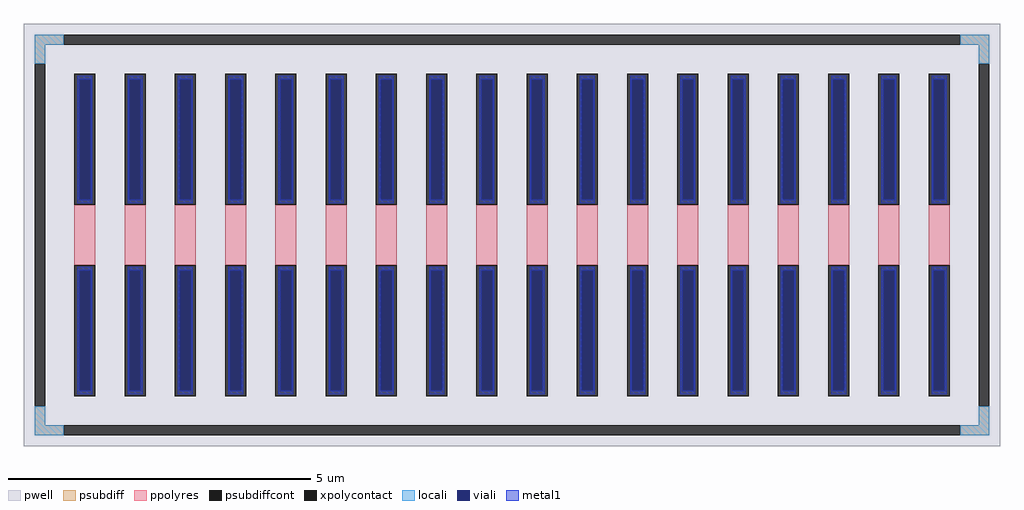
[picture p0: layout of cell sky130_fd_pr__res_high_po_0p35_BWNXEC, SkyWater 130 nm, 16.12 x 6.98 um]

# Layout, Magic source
magic
tech sky130A
magscale 1 2
<< pwell >>
rect -1612 -698 1612 698
<< psubdiff >>
rect -1576 628 -1480 662
rect 1480 628 1576 662
rect -1576 566 -1542 628
rect 1542 566 1576 628
rect -1576 -628 -1542 -566
rect 1542 -628 1576 -566
rect -1576 -662 -1480 -628
rect 1480 -662 1576 -628
<< psubdiffcont >>
rect -1480 628 1480 662
rect -1576 -566 -1542 566
rect 1542 -566 1576 566
rect -1480 -662 1480 -628
<< xpolycontact >>
rect -1446 100 -1376 532
rect -1446 -532 -1376 -100
rect -1280 100 -1210 532
rect -1280 -532 -1210 -100
rect -1114 100 -1044 532
rect -1114 -532 -1044 -100
rect -948 100 -878 532
rect -948 -532 -878 -100
rect -782 100 -712 532
rect -782 -532 -712 -100
rect -616 100 -546 532
rect -616 -532 -546 -100
rect -450 100 -380 532
rect -450 -532 -380 -100
rect -284 100 -214 532
rect -284 -532 -214 -100
rect -118 100 -48 532
rect -118 -532 -48 -100
rect 48 100 118 532
rect 48 -532 118 -100
rect 214 100 284 532
rect 214 -532 284 -100
rect 380 100 450 532
rect 380 -532 450 -100
rect 546 100 616 532
rect 546 -532 616 -100
rect 712 100 782 532
rect 712 -532 782 -100
rect 878 100 948 532
rect 878 -532 948 -100
rect 1044 100 1114 532
rect 1044 -532 1114 -100
rect 1210 100 1280 532
rect 1210 -532 1280 -100
rect 1376 100 1446 532
rect 1376 -532 1446 -100
<< ppolyres >>
rect -1446 -100 -1376 100
rect -1280 -100 -1210 100
rect -1114 -100 -1044 100
rect -948 -100 -878 100
rect -782 -100 -712 100
rect -616 -100 -546 100
rect -450 -100 -380 100
rect -284 -100 -214 100
rect -118 -100 -48 100
rect 48 -100 118 100
rect 214 -100 284 100
rect 380 -100 450 100
rect 546 -100 616 100
rect 712 -100 782 100
rect 878 -100 948 100
rect 1044 -100 1114 100
rect 1210 -100 1280 100
rect 1376 -100 1446 100
<< locali >>
rect -1576 628 -1480 662
rect 1480 628 1576 662
rect -1576 566 -1542 628
rect 1542 566 1576 628
rect -1576 -628 -1542 -566
rect 1542 -628 1576 -566
rect -1576 -662 -1480 -628
rect 1480 -662 1576 -628
<< viali >>
rect -1430 117 -1392 514
rect -1264 117 -1226 514
rect -1098 117 -1060 514
rect -932 117 -894 514
rect -766 117 -728 514
rect -600 117 -562 514
rect -434 117 -396 514
rect -268 117 -230 514
rect -102 117 -64 514
rect 64 117 102 514
rect 230 117 268 514
rect 396 117 434 514
rect 562 117 600 514
rect 728 117 766 514
rect 894 117 932 514
rect 1060 117 1098 514
rect 1226 117 1264 514
rect 1392 117 1430 514
rect -1430 -514 -1392 -117
rect -1264 -514 -1226 -117
rect -1098 -514 -1060 -117
rect -932 -514 -894 -117
rect -766 -514 -728 -117
rect -600 -514 -562 -117
rect -434 -514 -396 -117
rect -268 -514 -230 -117
rect -102 -514 -64 -117
rect 64 -514 102 -117
rect 230 -514 268 -117
rect 396 -514 434 -117
rect 562 -514 600 -117
rect 728 -514 766 -117
rect 894 -514 932 -117
rect 1060 -514 1098 -117
rect 1226 -514 1264 -117
rect 1392 -514 1430 -117
<< metal1 >>
rect -1436 514 -1386 526
rect -1436 117 -1430 514
rect -1392 117 -1386 514
rect -1436 105 -1386 117
rect -1270 514 -1220 526
rect -1270 117 -1264 514
rect -1226 117 -1220 514
rect -1270 105 -1220 117
rect -1104 514 -1054 526
rect -1104 117 -1098 514
rect -1060 117 -1054 514
rect -1104 105 -1054 117
rect -938 514 -888 526
rect -938 117 -932 514
rect -894 117 -888 514
rect -938 105 -888 117
rect -772 514 -722 526
rect -772 117 -766 514
rect -728 117 -722 514
rect -772 105 -722 117
rect -606 514 -556 526
rect -606 117 -600 514
rect -562 117 -556 514
rect -606 105 -556 117
rect -440 514 -390 526
rect -440 117 -434 514
rect -396 117 -390 514
rect -440 105 -390 117
rect -274 514 -224 526
rect -274 117 -268 514
rect -230 117 -224 514
rect -274 105 -224 117
rect -108 514 -58 526
rect -108 117 -102 514
rect -64 117 -58 514
rect -108 105 -58 117
rect 58 514 108 526
rect 58 117 64 514
rect 102 117 108 514
rect 58 105 108 117
rect 224 514 274 526
rect 224 117 230 514
rect 268 117 274 514
rect 224 105 274 117
rect 390 514 440 526
rect 390 117 396 514
rect 434 117 440 514
rect 390 105 440 117
rect 556 514 606 526
rect 556 117 562 514
rect 600 117 606 514
rect 556 105 606 117
rect 722 514 772 526
rect 722 117 728 514
rect 766 117 772 514
rect 722 105 772 117
rect 888 514 938 526
rect 888 117 894 514
rect 932 117 938 514
rect 888 105 938 117
rect 1054 514 1104 526
rect 1054 117 1060 514
rect 1098 117 1104 514
rect 1054 105 1104 117
rect 1220 514 1270 526
rect 1220 117 1226 514
rect 1264 117 1270 514
rect 1220 105 1270 117
rect 1386 514 1436 526
rect 1386 117 1392 514
rect 1430 117 1436 514
rect 1386 105 1436 117
rect -1436 -117 -1386 -105
rect -1436 -514 -1430 -117
rect -1392 -514 -1386 -117
rect -1436 -526 -1386 -514
rect -1270 -117 -1220 -105
rect -1270 -514 -1264 -117
rect -1226 -514 -1220 -117
rect -1270 -526 -1220 -514
rect -1104 -117 -1054 -105
rect -1104 -514 -1098 -117
rect -1060 -514 -1054 -117
rect -1104 -526 -1054 -514
rect -938 -117 -888 -105
rect -938 -514 -932 -117
rect -894 -514 -888 -117
rect -938 -526 -888 -514
rect -772 -117 -722 -105
rect -772 -514 -766 -117
rect -728 -514 -722 -117
rect -772 -526 -722 -514
rect -606 -117 -556 -105
rect -606 -514 -600 -117
rect -562 -514 -556 -117
rect -606 -526 -556 -514
rect -440 -117 -390 -105
rect -440 -514 -434 -117
rect -396 -514 -390 -117
rect -440 -526 -390 -514
rect -274 -117 -224 -105
rect -274 -514 -268 -117
rect -230 -514 -224 -117
rect -274 -526 -224 -514
rect -108 -117 -58 -105
rect -108 -514 -102 -117
rect -64 -514 -58 -117
rect -108 -526 -58 -514
rect 58 -117 108 -105
rect 58 -514 64 -117
rect 102 -514 108 -117
rect 58 -526 108 -514
rect 224 -117 274 -105
rect 224 -514 230 -117
rect 268 -514 274 -117
rect 224 -526 274 -514
rect 390 -117 440 -105
rect 390 -514 396 -117
rect 434 -514 440 -117
rect 390 -526 440 -514
rect 556 -117 606 -105
rect 556 -514 562 -117
rect 600 -514 606 -117
rect 556 -526 606 -514
rect 722 -117 772 -105
rect 722 -514 728 -117
rect 766 -514 772 -117
rect 722 -526 772 -514
rect 888 -117 938 -105
rect 888 -514 894 -117
rect 932 -514 938 -117
rect 888 -526 938 -514
rect 1054 -117 1104 -105
rect 1054 -514 1060 -117
rect 1098 -514 1104 -117
rect 1054 -526 1104 -514
rect 1220 -117 1270 -105
rect 1220 -514 1226 -117
rect 1264 -514 1270 -117
rect 1220 -526 1270 -514
rect 1386 -117 1436 -105
rect 1386 -514 1392 -117
rect 1430 -514 1436 -117
rect 1386 -526 1436 -514
<< properties >>
string FIXED_BBOX -1559 -645 1559 645
string gencell sky130_fd_pr__res_high_po_0p35
string library sky130
string parameters w 0.35 l 1.0 m 1 nx 18 wmin 0.350 lmin 0.50 rho 319.8 val 2.026k dummy 0 dw 0.0 term 194.82 sterm 0.0 caplen 0 guard 1 glc 1 grc 1 gtc 1 gbc 1 compatible {sky130_fd_pr__res_high_po_0p35  sky130_fd_pr__res_high_po_0p69 sky130_fd_pr__res_high_po_1p41  sky130_fd_pr__res_high_po_2p85 sky130_fd_pr__res_high_po_5p73} snake 0 full_metal 1 wmax 0.350 vias 1 n_guard 0 hv_guard 0 viagb 0 viagt 0 viagl 0 viagr 0
<< end >>
